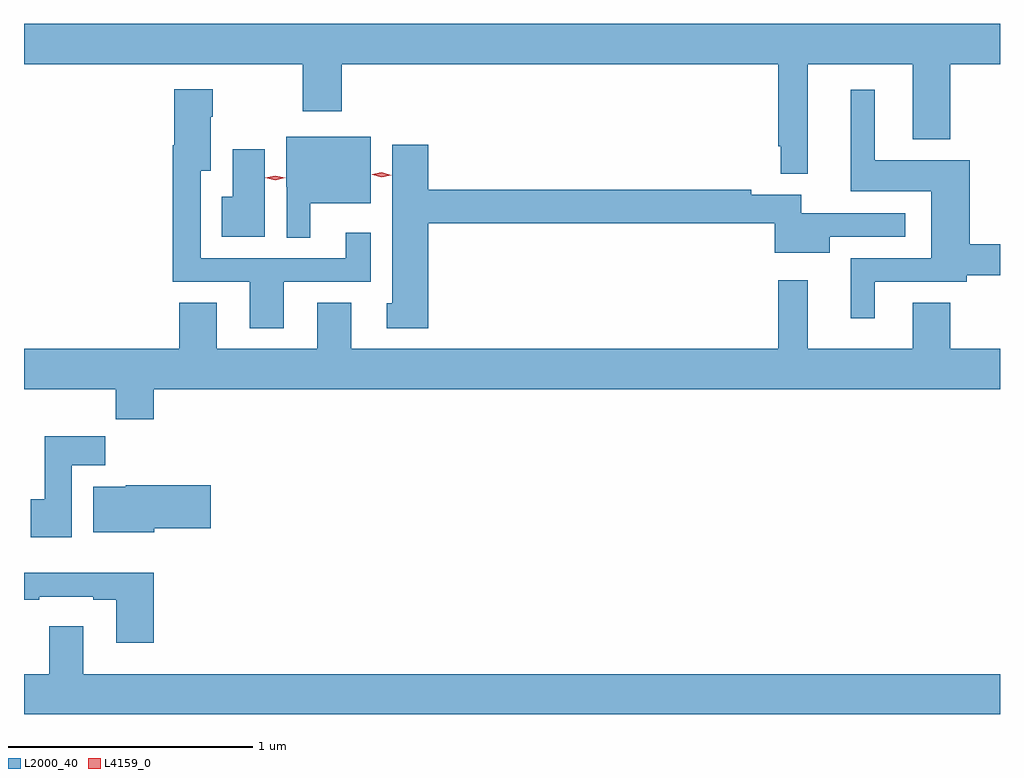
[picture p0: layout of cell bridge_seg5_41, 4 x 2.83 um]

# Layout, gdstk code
import gdstk
lib = gdstk.Library(unit=1e-6, precision=1e-09)
def P(c, l, *ps):  # polygons
    for p in ps: c.add(gdstk.Polygon(p, *l))
L2000_40 = (2000, 40)
L4159_0 = (4159, 0)

bridge_seg5_41 = lib.new_cell('bridge_seg5_41')
P(bridge_seg5_41, L2000_40, [(686.089,847.436),(686.519,847.436),(686.519,847.127),(686.672,847.127),(686.672,847.436),(686.876,847.436),(686.876,847.6),(682.876,847.6),(682.876,847.436),(684.019,847.436),(684.019,847.242),(684.179,847.242),(684.179,847.436),(685.968,847.436),(685.968,847.099),(685.978,847.099),(685.978,846.987),(686.089,846.987)],
  [(683.941,846.543),(684.298,846.543),(684.298,846.745),(684.194,846.745),(684.194,846.639),(683.601,846.639),(683.601,846.998),(683.641,846.998),(683.641,847.22),(683.649,847.22),(683.649,847.333),(683.492,847.333),(683.492,847.102),(683.485,847.102),(683.485,846.543),(683.801,846.543),(683.801,846.354),(683.941,846.354)],
  [(686.362,846.543),(686.74,846.543),(686.74,846.57),(686.876,846.57),(686.876,846.698),(686.753,846.698),(686.753,847.042),(686.362,847.042),(686.362,847.33),(686.264,847.33),(686.264,846.914),(686.594,846.914),(686.594,846.639),(686.264,846.639),(686.264,846.393),(686.362,846.393)],
  [(684.049,846.866),(684.298,846.866),(684.298,847.138),(683.951,847.138),(683.951,846.933),(683.952,846.933),(683.952,846.724),(684.049,846.724)],
  [(684.533,846.784),(685.952,846.784),(685.952,846.662),(686.179,846.662),(686.179,846.729),(686.488,846.729),(686.488,846.825),(686.062,846.825),(686.062,846.9),(685.856,846.9),(685.856,846.92),(684.533,846.92),(684.533,847.105),(684.386,847.105),(684.386,846.456),(684.362,846.456),(684.362,846.354),(684.533,846.354)],
  [(683.863,847.087),(683.732,847.087),(683.732,846.892),(683.686,846.892),(683.686,846.728),(683.863,846.728)],
  [(683.408,846.104),(686.876,846.104),(686.876,846.268),(686.672,846.268),(686.672,846.458),(686.519,846.458),(686.519,846.268),(686.089,846.268),(686.089,846.55),(685.968,846.55),(685.968,846.268),(684.217,846.268),(684.217,846.458),(684.077,846.458),(684.077,846.268),(683.665,846.268),(683.665,846.458),(683.513,846.458),(683.513,846.268),(682.876,846.268),(682.876,846.104),(683.251,846.104),(683.251,845.98),(683.408,845.98)],
  [(683.071,845.792),(683.21,845.792),(683.21,845.911),(682.961,845.911),(682.961,845.652),(682.904,845.652),(682.904,845.496),(683.071,845.496)],
  [(683.41,845.534),(683.641,845.534),(683.641,845.71),(683.292,845.71),(683.292,845.704),(683.159,845.704),(683.159,845.516),(683.41,845.516)],
  [(683.408,845.35),(682.876,845.35),(682.876,845.241),(682.939,845.241),(682.939,845.253),(683.159,845.253),(683.159,845.241),(683.255,845.241),(683.255,845.064),(683.408,845.064)],
  [(686.876,844.936),(683.119,844.936),(683.119,845.131),(682.979,845.131),(682.979,844.936),(682.876,844.936),(682.876,844.772),(686.876,844.772)])
P(bridge_seg5_41, L4159_0, [(684.342,846.972),(684.303,846.983),(684.303,846.984),(684.303,846.984),(684.343,846.992),(684.381,846.981),(684.382,846.981),(684.381,846.98)],
  [(683.906,846.959),(683.865,846.969),(683.865,846.969),(683.865,846.969),(683.906,846.979),(683.946,846.969),(683.946,846.969),(683.946,846.969)])

lib.write_gds('bridge_seg5_41.gds')
